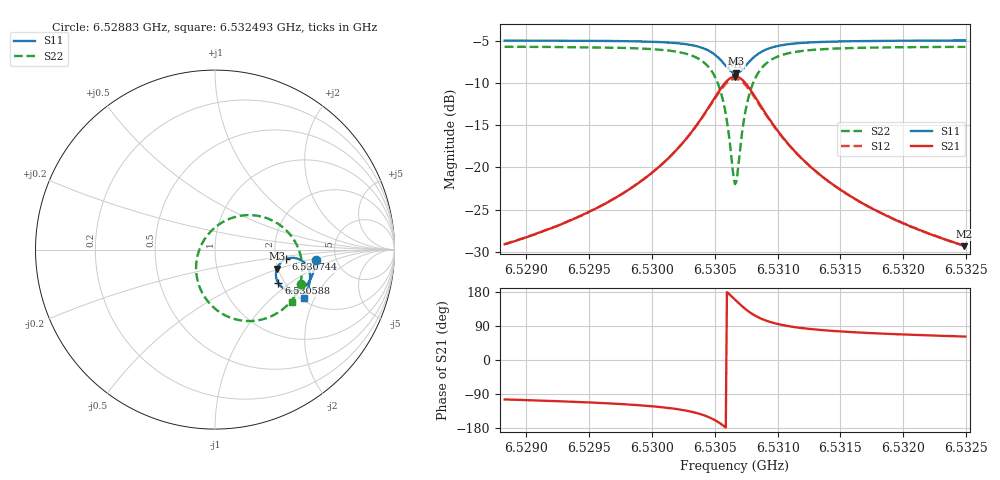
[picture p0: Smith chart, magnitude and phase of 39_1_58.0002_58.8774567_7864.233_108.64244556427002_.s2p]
#  HZ  S  RI  R  50.00
! Rohde & Schwarz Vector Network Analyzer
! Rohde-Schwarz,ZNB20-2Port,1311601062101988,3.16
! Created: UTC 3/21/2024, 12:52:00 AM
! freq[Hz]  re:S11  im:S11  re:S21  im:S21  re:S12  im:S12  re:S22  im:S22
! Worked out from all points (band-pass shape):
!   401 points, 6.52883 GHz to 6.532493 GHz, reference 50 ohm
!   highest |S21| = -9.23 dB at 6.530662 GHz (marker M1); lowest = -29.3 dB at 6.532484 GHz (marker M2)
!   |S21| within 3 dB of the highest: 6.53048 GHz to 6.530846 GHz (366.5 kHz wide, 0.00561 % of centre)
!   lowest |S11| = -8.8 dB at 6.530671 GHz (marker M3), VSWR 2.13, Z = 98.8 - j24.1 ohm
!   |S11| at or under -10 dB: nowhere
!   |S22| runs from -22.0 to -5.7 dB; largest |S21 - S12| = 0.015
!   S11 on the Smith chart (normalised r, x): 6.52883 GHz: 3.47, -0.60; 6.530588 GHz: 1.85, -0.83; 6.530744 GHz: 2.28, -0.29; 6.532493 GHz: 2.08, -1.66
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6.52883e9  0.5607 -0.0594  -0.00856 -0.034  -0.00929 -0.0338  0.4818 -0.1918
6.5294436e9  0.5512 -0.1127  -0.0188 -0.0484  -0.02 -0.0481  0.4489 -0.2536
6.5297549e9  0.5414 -0.1435  -0.0306 -0.0619  -0.0321 -0.0612  0.4182 -0.2939
6.5300571e9  0.5235 -0.1794  -0.0558 -0.0838  -0.0585 -0.0821  0.3603 -0.3453
6.5302769e9  0.4933 -0.2116  -0.1032 -0.1072  -0.1065 -0.1034  0.2652 -0.3888
6.5304326e9  0.4435 -0.2309  -0.1829 -0.114  -0.1856 -0.1058  0.1191 -0.3896
6.5305242e9  0.392 -0.222  -0.2638 -0.0804  -0.262 -0.0687  -0.0144 -0.3161
6.5305608e9  0.3686 -0.206  -0.2985 -0.0458  -0.2933 -0.0334  -0.066 -0.2503
6.5305883e9  0.3534 -0.1873  -0.3201 -0.00899  -0.3118 0.0028  -0.094 -0.1843
6.5306432e9  0.3395 -0.1345  -0.3322 0.0876  -0.3192 0.0942  -0.0944 -0.0226
6.5306615e9  0.3423 -0.1152  -0.3235 0.1214  -0.3099 0.1257  -0.0733 0.0309
6.5306707e9  0.3453 -0.1058  -0.3166 0.1376  -0.303 0.1405  -0.0591 0.0562
6.5307073e9  0.3659 -0.0736  -0.2755 0.1924  -0.2635 0.1909  0.0186 0.1378
6.530744e9  0.3949 -0.0538  -0.2219 0.2254  -0.2129 0.2213  0.1128 0.1822
6.5308081e9  0.445 -0.0469  -0.1338 0.2358  -0.1294 0.2315  0.2618 0.1835
6.5308996e9  0.4915 -0.0672  -0.0551 0.2044  -0.0532 0.2019  0.391 0.1134
6.531037e9  0.5201 -0.105  -0.00651 0.1517  -0.00528 0.1509  0.4641 0.0068
6.5312751e9  0.5297 -0.1519  0.0151 0.0979  0.0161 0.0974  0.4857 -0.1054
6.531559e9  0.526 -0.1892  0.0187 0.0663  0.0197 0.0661  0.4773 -0.1772
6.5318887e9  0.5169 -0.2221  0.0184 0.0474  0.0191 0.0472  0.461 -0.2286
6.5324839e9  0.4963 -0.2705  0.016 0.0301  0.0167 0.03  0.4301 -0.2887
6.5324931e9  0.4961 -0.2711  0.0161 0.0301  0.0167 0.0298  0.4295 -0.2893
